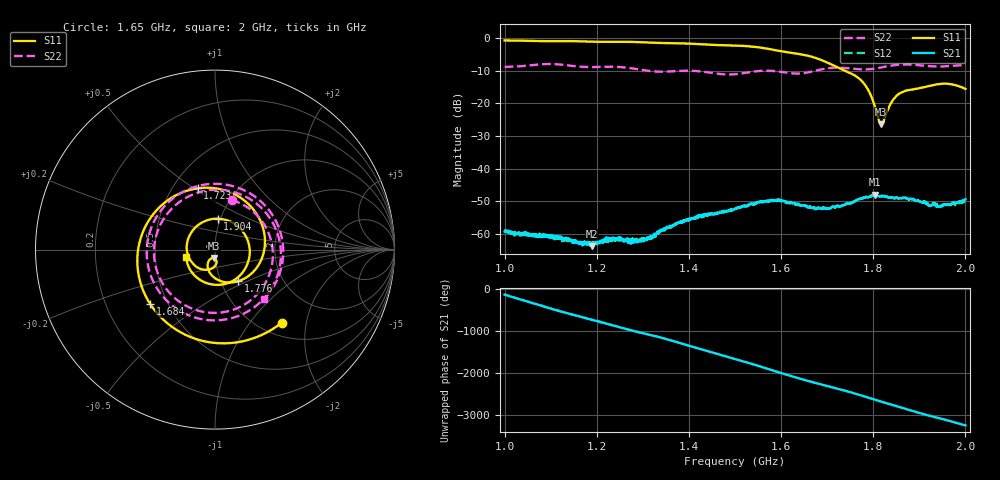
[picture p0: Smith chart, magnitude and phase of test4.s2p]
!Keysight Technologies N9923A: A.08.15
!Date: Wednesday, 14 February 2024 18:11:54
!Timezone: (GMT-05:00) Eastern Time (US & Canada)
!Model: N9923A
!Serial: MY52412730
!GPS Latitude:
!GPS Longitude:
!GPS TimeStamp: 0001-01-01 00:00:00Z
!GPS Seconds Since Last Read: 0
!CHECKSUM:1648753571
!Correction: S11(ON Q)S21(ON Q)S12(ON Q)S22(ON Q)
!S2P File: Measurements:S11,S21,S12,S22:
# Hz S DB R 50
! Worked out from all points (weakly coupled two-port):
!   1601 points, 1 GHz to 2 GHz, reference 50 ohm
!   highest |S21| = -47.97 dB at 1.804 GHz (marker M1); lowest = -63.7 dB at 1.189 GHz (marker M2)
!   lowest |S11| = -26.4 dB at 1.817 GHz (marker M3), VSWR 1.10, Z = 49 - j4.64 ohm
!   |S11| at or under -10 dB: 1.739 GHz to end of sweep
!   |S22| runs from -11.2 to -7.9 dB; largest |S21 - S12| = 0.0003
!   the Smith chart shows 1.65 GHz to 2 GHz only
!   S11 on the Smith chart (normalised r, x): 1.65 GHz: 1.24, -1.45; 1.684 GHz: 0.40, -0.31; 1.723 GHz: 0.66, +0.52; 1.776 GHz: 1.21, -0.45; 1.904 GHz: 0.97, +0.35; 2 GHz: 0.72, -0.07
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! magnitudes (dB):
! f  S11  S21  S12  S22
! 1 GHz  -0.7  -59.2  -59.1  -8.8
! 1.167 GHz  -1.0  -63.0  -62.6  -8.8
! 1.189 GHz  -1.1  -63.7  -62.7  -8.9
! 1.223 GHz  -1.2  -61.6  -61.6  -8.8
! 1.297 GHz  -1.3  -61.8  -61.2  -9.7
! 1.334 GHz  -1.5  -59.3  -59.7  -10.3
! 1.391 GHz  -1.7  -55.7  -56.0  -10.0
! 1.5 GHz  -2.3  -52.2  -52.2  -11.1
! 1.595 GHz  -3.9  -49.5  -49.7  -10.3
! 1.65 GHz  -5.2  -51.3  -51.2  -10.7
! 1.667 GHz  -5.7  -51.9  -51.8  -10.2
! 1.684 GHz  -6.5  -52.2  -52.0  -9.7
! 1.723 GHz  -9.0  -51.4  -51.5  -9.0
! 1.776 GHz  -13.2  -49.2  -49.1  -9.6
! 1.791 GHz  -16.3  -48.7  -48.5  -9.6
! 1.804 GHz  -21.0  -48.0  -48.0  -9.3
! 1.817 GHz  -26.4  -48.4  -48.4  -9.0
! 1.834 GHz  -21.3  -48.8  -48.9  -8.5
! 1.857 GHz  -17.0  -49.1  -49.2  -8.1
! 1.904 GHz  -15.2  -50.2  -50.1  -8.4
! 1.943 GHz  -14.1  -51.6  -51.2  -8.7
! 2 GHz  -15.6  -49.4  -49.9  -8.2
